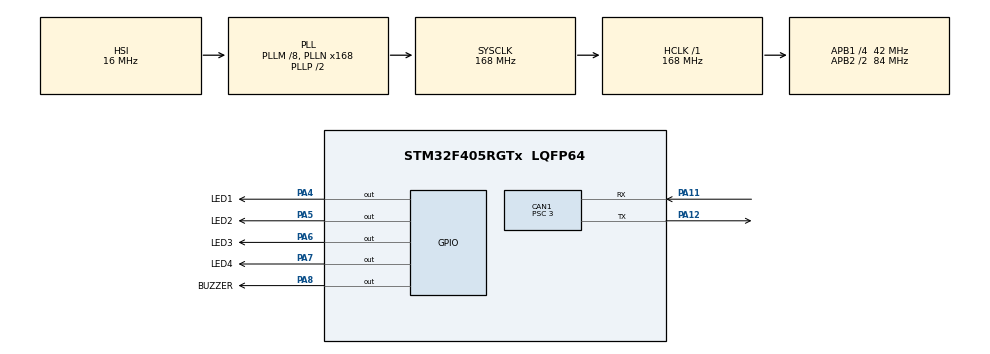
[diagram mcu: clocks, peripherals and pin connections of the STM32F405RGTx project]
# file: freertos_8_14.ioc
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CAN1.ABOM=ENABLE
CAN1.AWUM=ENABLE
CAN1.BS1=CAN_BS1_9TQ
CAN1.BS2=CAN_BS2_4TQ
CAN1.CalculateBaudRate=1000000
CAN1.CalculateTimeBit=1000
CAN1.CalculateTimeQuantum=71.42857142857143
CAN1.NART=ENABLE
CAN1.Prescaler=3
FREERTOS.Tasks01=LEDTask,24,128,LED_Task,Default,NULL,Dynamic,NULL,NULL;buzzerTask,8,128,BUZZER_TASK,Default,NULL,Static,buzzerTaskBuffer,buzzerTaskControlBlock
Mcu.Family=STM32F4
Mcu.Name=STM32F405RGTx
Mcu.Package=LQFP64
NVIC.CAN1_RX0_IRQn=true\:5\:0\:false\:false\:true\:true\:true\:true\:true
NVIC.CAN1_RX1_IRQn=true\:5\:0\:false\:false\:true\:true\:true\:true\:true
NVIC.PriorityGroup=NVIC_PRIORITYGROUP_4
NVIC.TIM1_UP_TIM10_IRQn=true\:15\:0\:false\:false\:true\:false\:false\:true\:true
NVIC.TimeBase=TIM1_UP_TIM10_IRQn
NVIC.TimeBaseIP=TIM1
PA11.Mode=CAN_Activate
PA11.Signal=CAN1_RX
PA12.Mode=CAN_Activate
PA12.Signal=CAN1_TX
PA13.Mode=Serial_Wire
PA13.Signal=SYS_JTMS-SWDIO
PA14.Mode=Serial_Wire
PA14.Signal=SYS_JTCK-SWCLK
PA4.GPIO_Label=LED1
PA4.GPIO_PuPd=GPIO_PULLDOWN
PA4.Signal=GPIO_Output
PA5.GPIO_Label=LED2
PA5.GPIO_PuPd=GPIO_PULLDOWN
PA5.Signal=GPIO_Output
PA6.GPIO_Label=LED3
PA6.GPIO_PuPd=GPIO_PULLDOWN
PA6.Signal=GPIO_Output
PA7.GPIO_Label=LED4
PA7.GPIO_PuPd=GPIO_PULLDOWN
PA7.Signal=GPIO_Output
PA8.GPIO_Label=BUZZER
PA8.GPIO_PuPd=GPIO_PULLDOWN
PA8.Signal=GPIO_Output
ProjectManager.HeapSize=0x200
ProjectManager.StackSize=0x400
ProjectManager.TargetToolchain=MDK-ARM V5.32
RCC.48MHZClocksFreq_Value=84000000
RCC.AHBFreq_Value=168000000
RCC.APB1CLKDivider=RCC_HCLK_DIV4
RCC.APB1Freq_Value=42000000
RCC.APB1TimFreq_Value=84000000
RCC.APB2CLKDivider=RCC_HCLK_DIV2
RCC.APB2Freq_Value=84000000
RCC.APB2TimFreq_Value=168000000
RCC.CortexFreq_Value=168000000
RCC.HCLKFreq_Value=168000000
RCC.HSE_VALUE=25000000
RCC.HSI_VALUE=16000000
RCC.LSE_VALUE=32768
RCC.PLLM=8
RCC.PLLN=168
RCC.SYSCLKFreq_VALUE=168000000
RCC.SYSCLKSource=RCC_SYSCLKSOURCE_PLLCLK
RCC.VCOOutputFreq_Value=336000000
VP_FREERTOS_VS_CMSIS_V2.Mode=CMSIS_V2
VP_SYS_VS_tim1.Mode=TIM1
board=custom

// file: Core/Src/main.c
/* USER CODE BEGIN Header */
/**
  ******************************************************************************
  * @file           : main.c
  * @brief          : Main program body
  ******************************************************************************
  * @attention
  *
  * Copyright (c) 2026 STMicroelectronics.
  * All rights reserved.
  *
  * This software is licensed under terms that can be found in the LICENSE file
  * in the root directory of this software component.
  * If no LICENSE file comes with this software, it is provided AS-IS.
  *
  ******************************************************************************
  */
/* USER CODE END Header */
#include "main.h"
#include "cmsis_os.h"
#include "can.h"
#include "gpio.h"

void SystemClock_Config(void);
void MX_FREERTOS_Init(void);

int main(void)
{

  /* MCU Configuration--------------------------------------------------------*/

  /* Reset of all peripherals, Initializes the Flash interface and the Systick. */
  HAL_Init();

  /* Configure the system clock */
  SystemClock_Config();

  /* Initialize all configured peripherals */
  MX_GPIO_Init();
  MX_CAN1_Init();

  /* Init scheduler */
  osKernelInitialize();  /* Call init function for freertos objects (in cmsis_os2.c) */
  MX_FREERTOS_Init();

  /* Start scheduler */
  osKernelStart();

  /* We should never get here as control is now taken by the scheduler */

  /* Infinite loop */
  while (1)
  {

  }
}

void SystemClock_Config(void)
{
  RCC_OscInitTypeDef RCC_OscInitStruct = {0};
  RCC_ClkInitTypeDef RCC_ClkInitStruct = {0};

  /** Configure the main internal regulator output voltage
  */
  __HAL_RCC_PWR_CLK_ENABLE();
  __HAL_PWR_VOLTAGESCALING_CONFIG(PWR_REGULATOR_VOLTAGE_SCALE1);

  /** Initializes the RCC Oscillators according to the specified parameters
  * in the RCC_OscInitTypeDef structure.
  */
  RCC_OscInitStruct.OscillatorType = RCC_OSCILLATORTYPE_HSI;
  RCC_OscInitStruct.HSIState = RCC_HSI_ON;
  RCC_OscInitStruct.HSICalibrationValue = RCC_HSICALIBRATION_DEFAULT;
  RCC_OscInitStruct.PLL.PLLState = RCC_PLL_ON;
  RCC_OscInitStruct.PLL.PLLSource = RCC_PLLSOURCE_HSI;
  RCC_OscInitStruct.PLL.PLLM = 8;
  RCC_OscInitStruct.PLL.PLLN = 168;
  RCC_OscInitStruct.PLL.PLLP = RCC_PLLP_DIV2;
  RCC_OscInitStruct.PLL.PLLQ = 4;
  if (HAL_RCC_OscConfig(&RCC_OscInitStruct) != HAL_OK)
  {
    Error_Handler();
  }

  /** Initializes the CPU, AHB and APB buses clocks
  */
  RCC_ClkInitStruct.ClockType = RCC_CLOCKTYPE_HCLK|RCC_CLOCKTYPE_SYSCLK
                              |RCC_CLOCKTYPE_PCLK1|RCC_CLOCKTYPE_PCLK2;
  RCC_ClkInitStruct.SYSCLKSource = RCC_SYSCLKSOURCE_PLLCLK;
  RCC_ClkInitStruct.AHBCLKDivider = RCC_SYSCLK_DIV1;
  RCC_ClkInitStruct.APB1CLKDivider = RCC_HCLK_DIV4;
  RCC_ClkInitStruct.APB2CLKDivider = RCC_HCLK_DIV2;

  if (HAL_RCC_ClockConfig(&RCC_ClkInitStruct, FLASH_LATENCY_5) != HAL_OK)
  {
    Error_Handler();
  }
}

void HAL_TIM_PeriodElapsedCallback(TIM_HandleTypeDef *htim)
{
  if (htim->Instance == TIM1)
  {
    HAL_IncTick();
  }
}

void Error_Handler(void)
{
  __disable_irq();
  while (1)
  {
  }
}

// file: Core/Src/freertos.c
/* USER CODE BEGIN Header */
/**
  ******************************************************************************
  * File Name          : freertos.c
  * Description        : Code for freertos applications
  ******************************************************************************
  * @attention
  *
  * Copyright (c) 2026 STMicroelectronics.
  * All rights reserved.
  *
  * This software is licensed under terms that can be found in the LICENSE file
  * in the root directory of this software component.
  * If no LICENSE file comes with this software, it is provided AS-IS.
  *
  ******************************************************************************
  */
/* USER CODE END Header */

#include "FreeRTOS.h"
#include "task.h"
#include "main.h"
#include "cmsis_os.h"
#include "buzzer.h"
/* USER CODE BEGIN Includes */
#include "led.h"
#include "CAN_IRQHandler.h"
#include "can.h"
#include "can_protocol.h"
/* USER CODE END Includes */

typedef StaticTask_t osStaticThreadDef_t;

/* USER CODE BEGIN Variables */
osThreadId_t canTxTaskHandle;

const osThreadAttr_t canTxTask_attributes = {
  .name = "canTxTask",
  .stack_size = 128 * 4,
  .priority = (osPriority_t) osPriorityNormal,
};

/* USER CODE END Variables */
/* Definitions for LEDTask */
osThreadId_t LEDTaskHandle;
const osThreadAttr_t LEDTask_attributes = {
  .name = "LEDTask",
  .stack_size = 128 * 4,
  .priority = (osPriority_t) osPriorityNormal,
};
/* Definitions for buzzerTask */
osThreadId_t buzzerTaskHandle;
uint32_t buzzerTaskBuffer[ 128 ];
osStaticThreadDef_t buzzerTaskControlBlock;
const osThreadAttr_t buzzerTask_attributes = {
  .name = "buzzerTask",
  .cb_mem = &buzzerTaskControlBlock,
  .cb_size = sizeof(buzzerTaskControlBlock),
  .stack_mem = &buzzerTaskBuffer[0],
  .stack_size = sizeof(buzzerTaskBuffer),
  .priority = (osPriority_t) osPriorityLow,
};

/* USER CODE BEGIN FunctionPrototypes */
void CAN_TX_TASK(void *argument);
/* USER CODE END FunctionPrototypes */
void LED_Task(void *argument);

void BUZZER_TASK(void *argument);

void MX_FREERTOS_Init(void); /* (MISRA C 2004 rule 8.1) */

void MX_FREERTOS_Init(void) {

  /* Create the thread(s) */
  /* creation of LEDTask */
  LEDTaskHandle = osThreadNew(LED_Task, NULL, &LEDTask_attributes);

  /* creation of buzzerTask */
  buzzerTaskHandle = osThreadNew(BUZZER_TASK, NULL, &buzzerTask_attributes);

  /* USER CODE BEGIN RTOS_THREADS */
  canTxTaskHandle = osThreadNew(CAN_TX_TASK,NULL,&canTxTask_attributes);
  /* add threads, ... */
  /* USER CODE END RTOS_THREADS */

}

void LED_Task(void *argument)
{
  /* USER CODE BEGIN LED_Task */
  /* Infinite loop */
  /*
  主板发送0x001
        ↓
  CAN接收回调解析开关和速度
        ↓
  can_breath_command_pending = 1
        ↓
  LED_Task读取新命令
        ↓
  breathing_led_set()
        ↓
  breathing_led()每1ms产生软件PWM
        ↓
  LED3、LED4呼吸
  */
  uint8_t enable; //0：关闭 1：开启
  uint16_t speed; //0x0001:最慢 0x1000:最快
  flowing_led_init();
  breathing_led_init();

  for (;;)
  {
    if (can_breath_command_pending != 0U)
      {
        taskENTER_CRITICAL();

        //不停检测can中断有没有把enable、speed变为全新状态，如有，要把can更改过的标志pending重新置为0
        enable = can_breath_enable_request;
        speed = can_breath_speed_request;
        can_breath_command_pending = 0U;

        taskEXIT_CRITICAL();

        //更新呼吸灯参数开启呼吸灯
        breathing_led_set(enable, speed);
      }
    flowing_led();
    breathing_led();

    osDelay(1);
  }

  /* USER CODE END LED_Task */
}

void BUZZER_TASK(void *argument)
{
  /* USER CODE BEGIN BUZZER_TASK */
  /* Infinite loop */
  buzzer_init();

  for (;;)
  {
    buzzer_alarm_fsm();
    osDelay(1);
  }
  /* USER CODE END BUZZER_TASK */
}

/* USER CODE BEGIN Application */
void CAN_TX_TASK(void *argument)
{
    uint32_t noise_sequence = 0U; // 500 Hz报文序号
    uint8_t float_period_count = 0U; // 2 ms循环计数
    float feedback_value = 0.0f; // 反馈值0.0～10.0

    TickType_t last_wake_time; // 上次唤醒时间
    last_wake_time = xTaskGetTickCount();

    for (;;)
    {
      /*
      * 每次循环都发送0x02010101。
      * 循环周期2 ms，因此频率为500 Hz。
      */
      if (CAN_SendSlaveNoise(noise_sequence) == HAL_OK)
      {
        noise_sequence++;
      }

      /*
       * 每次循环累计一次。
       * 5次 × 2 ms = 10 ms，即100 Hz。
      */
      float_period_count++;

      //500 Hz任务循环多少次之后，发送一次100 Hz float报文。
      /* 5次 = 10 ms = 100 Hz */
      if (float_period_count >= 5U)
      {
        float_period_count = 0U;

        if (CAN_SendFloatFeedback(feedback_value) == HAL_OK)
        {
          /*
           * 只有成功放入CAN发送邮箱后，
           * 才更新下一帧的float数值。
           */
          feedback_value += 0.1f;

          if (feedback_value > 10.0f)
          {
            feedback_value = 0.0f;
          }
        }
      }

        vTaskDelayUntil(&last_wake_time,pdMS_TO_TICKS(CAN_NOISE_PERIOD_MS));
    }
}

/* USER CODE END Application */
